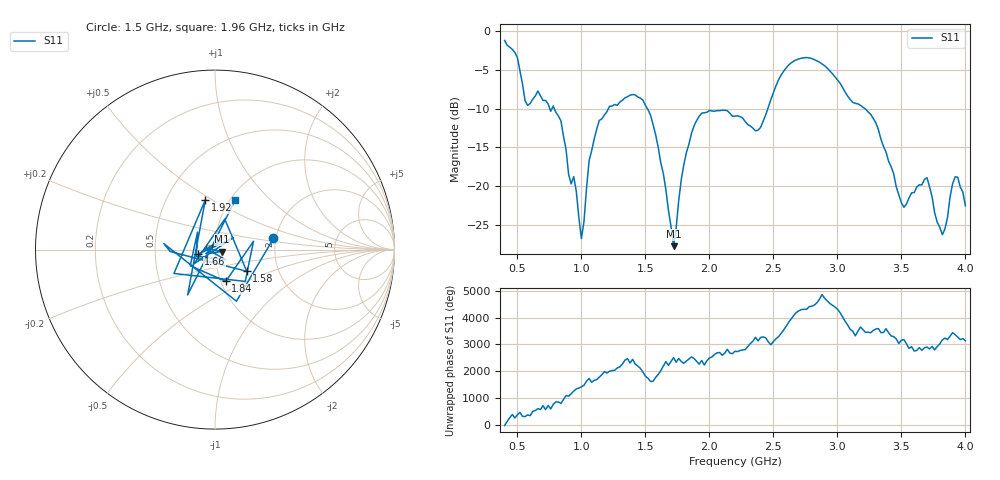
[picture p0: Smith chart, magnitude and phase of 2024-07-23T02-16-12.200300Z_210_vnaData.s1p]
!Created with skrf (http://scikit-rf.org).
# Hz S RI R 50.0
!freq ReS11 ImS11
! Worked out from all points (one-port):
!   181 points, 400 MHz to 4 GHz, reference 50 ohm
!   lowest |S11| = -27.7 dB at 1.72 GHz (marker M1), VSWR 1.09, Z = 54.1 - j1.19 ohm
!   |S11| at or under -10 dB: 788.3 MHz to 1.211 GHz (423 MHz wide, 42.3 % of centre); 1.515 GHz to 2.456 GHz (941.3 MHz wide, 47.4 % of centre); 3.214 GHz to end of sweep (the widest 3 of 4)
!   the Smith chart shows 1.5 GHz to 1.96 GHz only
!   S11 on the Smith chart (normalised r, x): 1.5 GHz: 1.94, +0.27; 1.58 GHz: 1.38, -0.35; 1.66 GHz: 0.83, -0.04; 1.84 GHz: 1.05, -0.39; 1.92 GHz: 0.78, +0.47; 1.96 GHz: 1.05, +0.64
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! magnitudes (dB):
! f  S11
! 400 MHz  -1.3
! 500 MHz  -3.4
! 580 MHz  -9.6
! 660 MHz  -7.7
! 860 MHz  -13.6
! 1 GHz  -26.7
! 1.06 GHz  -16.7
! 1.12 GHz  -12.6
! 1.3 GHz  -9.2
! 1.5 GHz  -9.6
! 1.58 GHz  -13.4
! 1.66 GHz  -20.4
! 1.72 GHz  -27.7
! 1.76 GHz  -21.8
! 1.84 GHz  -14.6
! 1.92 GHz  -11.0
! 1.96 GHz  -10.5
! 2.2 GHz  -11.0
! 2.38 GHz  -12.8
! 2.66 GHz  -3.9
! 3.1 GHz  -8.8
! 3.28 GHz  -11.3
! 3.5 GHz  -22.1
! 3.56 GHz  -21.5
! 3.7 GHz  -18.9
! 3.82 GHz  -26.2
! 3.92 GHz  -18.8
! 4 GHz  -22.5
